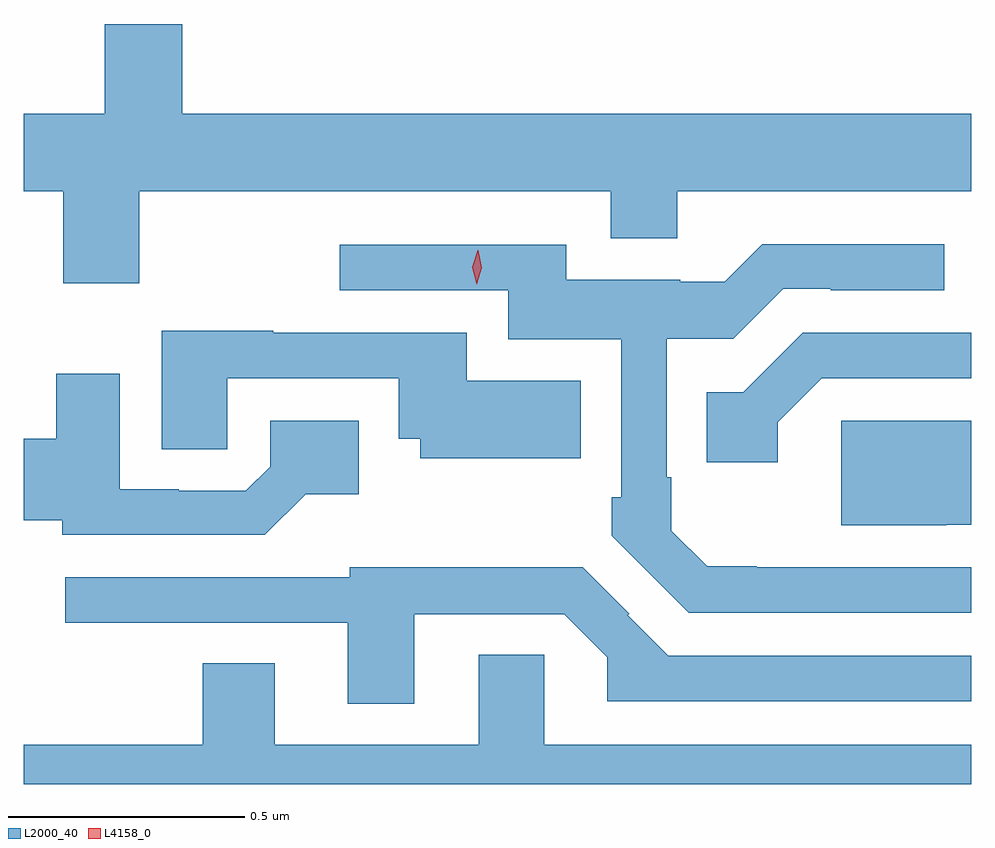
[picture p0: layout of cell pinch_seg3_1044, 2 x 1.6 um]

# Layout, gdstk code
import gdstk
lib = gdstk.Library(unit=1e-6, precision=1e-09)
def P(c, l, *ps):  # polygons
    for p in ps: c.add(gdstk.Polygon(p, *l))
L2000_40 = (2000, 40)
L4158_0 = (4158, 0)

pinch_seg3_1044 = lib.new_cell('pinch_seg3_1044')
P(pinch_seg3_1044, L2000_40, [(608.637,680.936),(609.632,680.936),(609.632,680.837),(609.772,680.837),(609.772,680.936),(610.393,680.936),(610.393,681.1),(608.728,681.1),(608.728,681.289),(608.564,681.289),(608.564,681.1),(608.393,681.1),(608.393,680.936),(608.477,680.936),(608.477,680.742),(608.637,680.742)],
  [(610.393,680.142),(609.94,680.142),(609.94,680.145),(609.836,680.145),(609.76,680.22),(609.76,680.332),(609.75,680.332),(609.75,680.625),(609.891,680.625),(609.996,680.73),(610.096,680.73),(610.096,680.727),(610.336,680.727),(610.336,680.824),(609.952,680.824),(609.873,680.745),(609.779,680.745),(609.779,680.749),(609.538,680.749),(609.538,680.823),(609.06,680.823),(609.06,680.727),(609.416,680.727),(609.416,680.624),(609.654,680.624),(609.654,680.29),(609.634,680.29),(609.634,680.209),(609.797,680.046),(610.393,680.046)],
  [(609.569,680.536),(609.328,680.536),(609.328,680.637),(608.92,680.637),(608.92,680.642),(608.684,680.642),(608.684,680.392),(608.823,680.392),(608.823,680.541),(609.185,680.541),(609.185,680.414),(609.23,680.414),(609.23,680.372),(609.569,680.372)],
  [(609.985,680.449),(610.077,680.541),(610.393,680.541),(610.393,680.637),(610.037,680.637),(609.912,680.512),(609.835,680.512),(609.835,680.364),(609.985,680.364)],
  [(608.988,680.297),(609.1,680.297),(609.1,680.452),(608.913,680.452),(608.913,680.355),(608.862,680.304),(608.72,680.304),(608.72,680.307),(608.596,680.307),(608.596,680.551),(608.462,680.551),(608.462,680.414),(608.393,680.414),(608.393,680.242),(608.474,680.242),(608.474,680.211),(608.902,680.211)],
  [(610.34,680.232),(610.393,680.232),(610.393,680.452),(610.118,680.452),(610.118,680.231),(610.34,680.231)],
  [(609.217,680.043),(609.534,680.043),(609.625,679.953),(609.625,679.86),(610.393,679.86),(610.393,679.956),(609.753,679.956),(609.668,680.041),(609.671,680.044),(609.573,680.142),(609.081,680.142),(609.081,680.121),(608.481,680.121),(608.481,680.025),(609.077,680.025),(609.077,679.854),(609.217,679.854)],
  [(610.393,679.768),(609.492,679.768),(609.492,679.958),(609.353,679.958),(609.353,679.768),(608.923,679.768),(608.923,679.94),(608.771,679.94),(608.771,679.768),(608.393,679.768),(608.393,679.685),(610.393,679.685)])
P(pinch_seg3_1044, L4158_0, [(609.349,680.74),(609.349,680.74),(609.34,680.776),(609.351,680.811),(609.352,680.811),(609.352,680.811),(609.36,680.775),(609.349,680.74)])

lib.write_gds('pinch_seg3_1044.gds')
